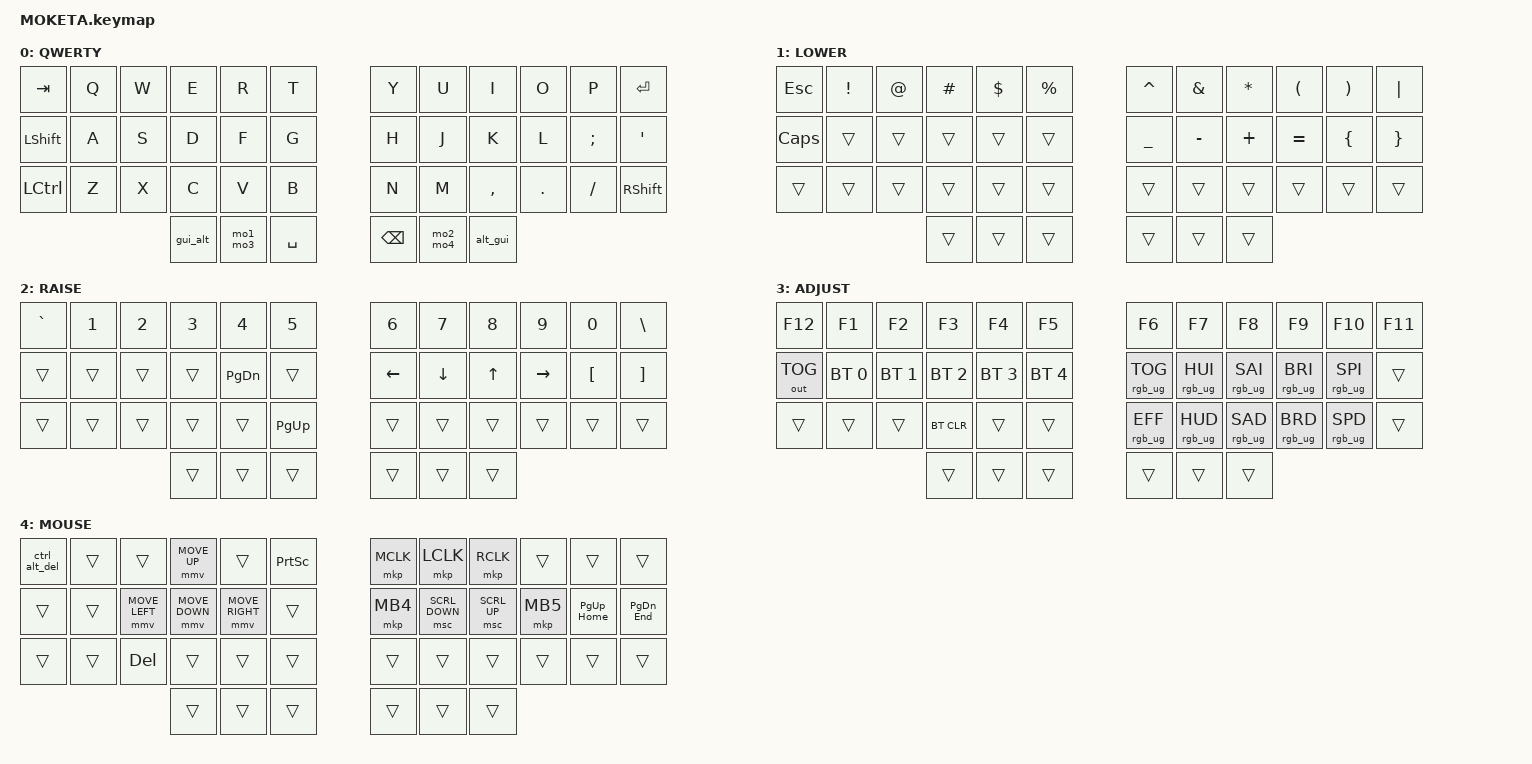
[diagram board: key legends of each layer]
#define ZMK_POINTING_DEFAULT_MOVE_VAL 1200  // default: 600
#define ZMK_POINTING_DEFAULT_SCRL_VAL 15    // default: 10
#define U_MS_U &mmv MOVE_UP
#define U_MS_D &mmv MOVE_DOWN
#define U_MS_L &mmv MOVE_LEFT
#define U_MS_R &mmv MOVE_RIGHT

// https://zmk.dev/docs/keymaps/behaviors/hold-tap#example-use-cases

#define MO_TOG(layer) &mo_tog layer layer   // Macro to apply momentary-layer-on-hold/toggle-layer-on-tap to a specific layer
#define HOLD_TOG(layer) &hold_tog layer layer

#include <input/processors.dtsi>
#include <zephyr/dt-bindings/input/input-event-codes.h>
#include <behaviors.dtsi>
#include <dt-bindings/zmk/bt.h>
#include <dt-bindings/zmk/keys.h>
#include <dt-bindings/zmk/outputs.h>
#include <dt-bindings/zmk/pointing.h>
#include <dt-bindings/zmk/rgb.h>
#include <dt-bindings/zmk/ext_power.h>

&mmv_input_listener { input-processors = <&zip_xy_scaler 2 1>; };

&mmv {
    time-to-max-speed-ms = <500>;
    acceleration-exponent = <0>;
    trigger-period-ms = <16>;
};

/ {
};

/ {
    behaviors {
        hold_tog: hold_toggle {
            compatible = "zmk,behavior-hold-tap";
            #binding-cells = <2>;
            tapping_term_ms = <500>;
            quick_tap_ms = <0>;
            flavor = "tap-preferred";
            bindings = <&tog>, <&mo>;
        };

        // Tap for Page up, Double Tap for Home
        PgUp_Home: PgUp_Home {
            compatible = "zmk,behavior-tap-dance";
            #binding-cells = <0>;
            tapping-term-ms = <400>;
            bindings = <&kp PG_UP>, <&kp HOME>;
        };

        // Tap for Page Down, Double Tap for End
        PgDn_End: PgDn_End {
            compatible = "zmk,behavior-tap-dance";
            #binding-cells = <0>;
            tapping-term-ms = <400>;
            bindings = <&kp PG_DN>, <&kp END>;
        };

        // Tap for Left GUI, Double Tap for Left Alt
        gui_alt: gui_alt {
            compatible = "zmk,behavior-tap-dance";
            #binding-cells = <0>;
            tapping-term-ms = <200>;
            bindings = <&kp LGUI>, <&kp LALT>;
        };

        // Tap for Right Alt, Double Tap for Right GUI
        alt_gui: alt_gui {
            compatible = "zmk,behavior-tap-dance";
            #binding-cells = <0>;
            tapping-term-ms = <200>;
            bindings = <&kp RALT>, <&kp RGUI>;
        };
        

        // Hold for layer 1, double tap and hold for layer 3
        mo1_mo3: mo1_mo3 {
            compatible = "zmk,behavior-tap-dance";
            #binding-cells = <0>;
            tapping-term-ms = <400>;
            bindings = <&mo 1>, <&mo 3>;
        };

        // Hold for layer 2, double tap and hold for layer 4
        mo2_mo4: mo2_mo4 {
            compatible = "zmk,behavior-tap-dance";
            #binding-cells = <0>;
            tapping-term-ms = <400>;
            bindings = <&mo 2>, <&mo 4>;
        };

        // Hold for layer 2, double tap and hold to toggle layer 4
        mo2_holdtog4: mo2_holdtog4 {
            compatible = "zmk,behavior-tap-dance";
            label = "MO2_HOLDTOG4";
            #binding-cells = <0>;
            bindings = <&mo 2>, <&hold_tog 4 2>;
            tapping-term-ms = <200>;
        };

        hrm: hr {
            compatible = "zmk,behavior-hold-tap";
            label = "hrm";
            bindings = <&kp>, <&kp>;

            #binding-cells = <2>;
            tapping-term-ms = <200>;
            flavor = "balanced";
            quick-tap-ms = <150>;
        };
    };

    macros {
        ctrl_alt_del: ctrl_alt_del {
          compatible = "zmk,behavior-macro";
          #binding-cells = <0>;
          bindings
              = <&kp LC(LA(DEL))>
              ;
        };

    };

    keymap {
        compatible = "zmk,keymap";

        default_layer {
            display-name = "QWERTY";
            bindings = <
//    ┌──────┬───┬───┬──────────┬─────────┬─────┐   ┌──────┬─────────┬──────────┬───┬───┬──────┐
//    │ tab  │ Q │ W │    E     │    R    │  T  │   │  Y   │    U    │    I     │ O │ P │ ent  │
//    ├──────┼───┼───┼──────────┼─────────┼─────┤   ├──────┼─────────┼──────────┼───┼───┼──────┤
//    │ lsft │ A │ S │    D     │    F    │  G  │   │  H   │    J    │    K     │ L │ ; │  '   │
//    ├──────┼───┼───┼──────────┼─────────┼─────┤   ├──────┼─────────┼──────────┼───┼───┼──────┤
//    │ lctl │ Z │ X │    C     │    V    │  B  │   │  N   │    M    │    ,     │ . │ / │ rsft │
//    └──────┴───┴───┼──────────┼─────────┼─────┤   ├──────┼─────────┼──────────┼───┴───┴──────┘
//                   │ &gui_alt │ mo1_mo3 │ spc │   │ bspc │ mo2_mo4 │ &alt_gui │
//                   └──────────┴─────────┴─────┘   └──────┴─────────┴──────────┘
  &kp TAB     &kp Q   &kp W   &kp E      &kp R      &kp T           &kp Y      &kp U      &kp I       &kp O     &kp P      &kp ENTER
  &kp LSHFT   &kp A   &kp S   &kp D      &kp F      &kp G           &kp H      &kp J      &kp K       &kp L     &kp SEMI   &kp SQT
  &kp LCTRL   &kp Z   &kp X   &kp C      &kp V      &kp B           &kp N      &kp M      &kp COMMA   &kp DOT   &kp FSLH   &kp RSHFT
                              &gui_alt   &mo1_mo3   &kp SPACE       &kp BSPC   &mo2_mo4   &alt_gui
            >;
        };

        lower_layer {
            display-name = "LOWER";
            bindings = <
//    ┌──────┬─────┬─────┬─────┬─────┬─────┐   ┌─────┬─────┬─────┬─────┬─────┬─────┐
//    │ esc  │  !  │  @  │  #  │  $  │  %  │   │  ^  │  &  │  *  │  (  │  )  │  |  │
//    ├──────┼─────┼─────┼─────┼─────┼─────┤   ├─────┼─────┼─────┼─────┼─────┼─────┤
//    │ caps │     │     │     │     │     │   │  _  │  -  │  +  │  =  │  {  │  }  │
//    ├──────┼─────┼─────┼─────┼─────┼─────┤   ├─────┼─────┼─────┼─────┼─────┼─────┤
//    │      │     │     │     │     │     │   │     │     │     │     │     │     │
//    └──────┴─────┴─────┼─────┼─────┼─────┤   ├─────┼─────┼─────┼─────┴─────┴─────┘
//                       │     │     │     │   │     │     │     │
//                       └─────┴─────┴─────┘   └─────┴─────┴─────┘
  &kp ESC    &kp EXCL   &kp AT   &kp HASH   &kp DLLR   &kp PRCNT       &kp CARET   &kp AMPS    &kp ASTRK   &kp LPAR    &kp RPAR   &kp PIPE
  &kp CAPS   &trans     &trans   &trans     &trans     &trans          &kp UNDER   &kp MINUS   &kp PLUS    &kp EQUAL   &kp LBRC   &kp RBRC
  &trans     &trans     &trans   &trans     &trans     &trans          &trans      &trans      &trans      &trans      &trans     &trans
                                 &trans     &trans     &trans          &trans      &trans      &trans
            >;
        };

        raise_layer {
            display-name = "RAISE";
            bindings = <
//    ┌─────┬─────┬─────┬─────┬──────┬──────┐   ┌──────┬──────┬─────┬──────┬─────┬─────┐
//    │  `  │  1  │  2  │  3  │  4   │  5   │   │  6   │  7   │  8  │  9   │  0  │  \  │
//    ├─────┼─────┼─────┼─────┼──────┼──────┤   ├──────┼──────┼─────┼──────┼─────┼─────┤
//    │     │     │     │     │ pgdn │      │   │ left │ down │ up  │ rght │  [  │  ]  │
//    ├─────┼─────┼─────┼─────┼──────┼──────┤   ├──────┼──────┼─────┼──────┼─────┼─────┤
//    │     │     │     │     │      │ pgup │   │      │      │     │      │     │     │
//    └─────┴─────┴─────┼─────┼──────┼──────┤   ├──────┼──────┼─────┼──────┴─────┴─────┘
//                      │     │      │      │   │      │      │     │
//                      └─────┴──────┴──────┘   └──────┴──────┴─────┘
  &kp GRAVE   &kp N1   &kp N2   &kp N3   &kp N4      &kp N5          &kp N6     &kp N7     &kp N8   &kp N9      &kp N0     &kp BSLH
  &trans      &trans   &trans   &trans   &kp PG_DN   &trans          &kp LEFT   &kp DOWN   &kp UP   &kp RIGHT   &kp LBKT   &kp RBKT
  &trans      &trans   &trans   &trans   &trans      &kp PG_UP       &trans     &trans     &trans   &trans      &trans     &trans
                                &trans   &trans      &trans          &trans     &trans     &trans
            >;
        };

        adjust_layer {
            display-name = "ADJUST";
            bindings = <
//    ┌──────────┬──────────┬──────────┬──────────┬──────────┬──────────┐   ┌─────────┬─────────┬─────────┬─────────┬─────────┬─────┐
//    │   f12    │    f1    │    f2    │    f3    │    f4    │    f5    │   │   f6    │   f7    │   f8    │   f9    │   f10   │ f11 │
//    ├──────────┼──────────┼──────────┼──────────┼──────────┼──────────┤   ├─────────┼─────────┼─────────┼─────────┼─────────┼─────┤
//    │ out_ tog │ bt_sel 0 │ bt_sel 1 │ bt_sel 2 │ bt_sel 3 │ bt_sel 4 │   │ ug_ tog │ ug_ hu+ │ ug_ sa+ │ ug_ br+ │ ug_ sp+ │     │
//    ├──────────┼──────────┼──────────┼──────────┼──────────┼──────────┤   ├─────────┼─────────┼─────────┼─────────┼─────────┼─────┤
//    │          │          │          │  bt_clr  │          │          │   │ ug_ eff │ ug_ hu- │ ug_ sa- │ ug_ br- │ ug_ sp- │     │
//    └──────────┴──────────┴──────────┼──────────┼──────────┼──────────┤   ├─────────┼─────────┼─────────┼─────────┴─────────┴─────┘
//                                     │          │          │          │   │         │         │         │
//                                     └──────────┴──────────┴──────────┘   └─────────┴─────────┴─────────┘
  &kp F12        &kp F1         &kp F2         &kp F3         &kp F4         &kp F5             &kp F6            &kp F7            &kp F8            &kp F9            &kp F10           &kp F11
  &out OUT_TOG   &bt BT_SEL 0   &bt BT_SEL 1   &bt BT_SEL 2   &bt BT_SEL 3   &bt BT_SEL 4       &rgb_ug RGB_TOG   &rgb_ug RGB_HUI   &rgb_ug RGB_SAI   &rgb_ug RGB_BRI   &rgb_ug RGB_SPI   &trans
  &trans         &trans         &trans         &bt BT_CLR     &trans         &trans             &rgb_ug RGB_EFF   &rgb_ug RGB_HUD   &rgb_ug RGB_SAD   &rgb_ug RGB_BRD   &rgb_ug RGB_SPD   &trans
                                               &trans         &trans         &trans             &trans            &trans            &trans
            >;
        };

        mouse_layer {
            display-name = "MOUSE";
            bindings = <
//    ┌───────────────┬─────┬────────────────┬────────────────┬────────────────┬──────┐   ┌──────┬────────────────┬──────────────┬──────┬────────────┬───────────┐
//    │ &ctrl_alt_del │     │                │  &mmv MOVE_up  │                │ pscr │   │ mclk │      lclk      │     rclk     │      │            │           │
//    ├───────────────┼─────┼────────────────┼────────────────┼────────────────┼──────┤   ├──────┼────────────────┼──────────────┼──────┼────────────┼───────────┤
//    │               │     │ &mmv MOVE_left │ &mmv MOVE_down │ &mmv MOVE_rght │      │   │ mbck │ &msc SCRL_down │ &msc SCRL_up │ mfwd │ &PgUp_Home │ &PgDn_End │
//    ├───────────────┼─────┼────────────────┼────────────────┼────────────────┼──────┤   ├──────┼────────────────┼──────────────┼──────┼────────────┼───────────┤
//    │               │     │      del       │                │                │      │   │      │                │              │      │            │           │
//    └───────────────┴─────┴────────────────┼────────────────┼────────────────┼──────┤   ├──────┼────────────────┼──────────────┼──────┴────────────┴───────────┘
//                                           │                │                │      │   │      │                │              │
//                                           └────────────────┴────────────────┴──────┘   └──────┴────────────────┴──────────────┘
  &ctrl_alt_del   &trans   &trans           &mmv MOVE_UP     &trans            &kp PRINTSCREEN       &mkp MCLK   &mkp LCLK        &mkp RCLK      &trans     &trans       &trans
  &trans          &trans   &mmv MOVE_LEFT   &mmv MOVE_DOWN   &mmv MOVE_RIGHT   &trans                &mkp MB4    &msc SCRL_DOWN   &msc SCRL_UP   &mkp MB5   &PgUp_Home   &PgDn_End
  &trans          &trans   &kp DEL          &trans           &trans            &trans                &trans      &trans           &trans         &trans     &trans       &trans
                                            &trans           &trans            &trans                &trans      &trans           &trans
            >;
        };
    };
};
